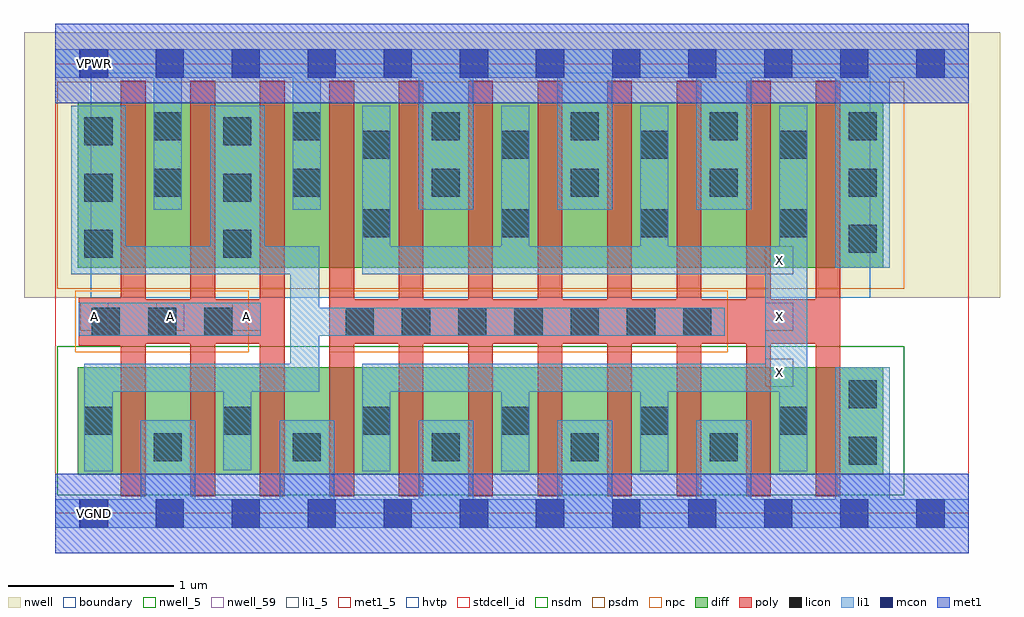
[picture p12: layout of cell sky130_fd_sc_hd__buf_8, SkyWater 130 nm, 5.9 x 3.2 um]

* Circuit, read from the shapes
.subckt sky130_fd_sc_hd__buf_8 A VGND VNB VPB VPWR X
XM1 VGND A n1 VNB sky130_fd_pr__nfet_01v8 w=0.65 l=0.15 m=3
XM2 X n1 VGND VNB sky130_fd_pr__nfet_01v8 w=0.65 l=0.15 m=8
XM3 VPWR A n1 VPB sky130_fd_pr__pfet_01v8_hvt w=1 l=0.15 m=3
XM4 X n1 VPWR VPB sky130_fd_pr__pfet_01v8_hvt w=1 l=0.15 m=8
.ends

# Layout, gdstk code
import gdstk
lib = gdstk.Library(unit=1e-6, precision=1e-09)
def R(c, l, rs):  # rectangles x0, y0, x1, y1
    for r in rs: c.add(gdstk.rectangle(r[:2], r[2:], *l))
def A(c, l, x, y, w, h, nx, ny, dx, dy):  # array of equal rectangles
    R(c, l, [(x+i*dx, y+j*dy, x+i*dx+w, y+j*dy+h) for i in range(nx) for j in range(ny)])
nwell_5 = (64, 5)
nwell = (64, 20)
nwell_59 = (64, 59)
diff = (65, 20)
poly = (66, 20)
licon = (66, 44)
li1_5 = (67, 5)
li1 = (67, 20)
mcon = (67, 44)
met1_5 = (68, 5)
met1 = (68, 20)
hvtp = (78, 44)
stdcell_id = (81, 4)
nsdm = (93, 44)
psdm = (94, 20)
npc = (95, 20)
boundary = (235, 4)

sky130_fd_sc_hd__buf_8 = lib.new_cell('sky130_fd_sc_hd__buf_8')
R(sky130_fd_sc_hd__buf_8, nwell_5, [(0.15,2.635,0.32,2.805)])
R(sky130_fd_sc_hd__buf_8, nwell, [(-0.19,1.305,5.71,2.91)])
R(sky130_fd_sc_hd__buf_8, nwell_59, [(0.15,-0.085,0.32,0.085)])
R(sky130_fd_sc_hd__buf_8, diff, [(0.135,0.235,5.005,0.885), (0.135,1.485,5.005,2.485)])
A(sky130_fd_sc_hd__buf_8, poly, 0.815, 0.105, 0.15, 0.92, 10, 1, 0.42, 0)
A(sky130_fd_sc_hd__buf_8, poly, 0.815, 1.295, 0.15, 1.32, 10, 1, 0.42, 0)
R(sky130_fd_sc_hd__buf_8, poly, [(0.395,0.105,0.545,1.015), (0.14,1.015,0.545,1.025), (0.14,1.025,1.385,1.295), (1.655,1.025,4.745,1.295), (0.14,1.295,0.545,1.305), (0.395,1.305,0.545,2.615)])
A(sky130_fd_sc_hd__buf_8, licon, 0.595, 0.315, 0.17, 0.17, 5, 1, 0.84, 0)
A(sky130_fd_sc_hd__buf_8, licon, 0.175, 0.475, 0.17, 0.17, 6, 1, 0.84, 0)
A(sky130_fd_sc_hd__buf_8, licon, 0.22, 1.075, 0.17, 0.17, 3, 1, 0.34, 0)
A(sky130_fd_sc_hd__buf_8, licon, 1.755, 1.075, 0.17, 0.17, 7, 1, 0.34, 0)
A(sky130_fd_sc_hd__buf_8, licon, 0.175, 1.545, 0.17, 0.17, 1, 3, 0, 0.34)
A(sky130_fd_sc_hd__buf_8, licon, 1.015, 1.545, 0.17, 0.17, 1, 3, 0, 0.34)
A(sky130_fd_sc_hd__buf_8, licon, 1.855, 1.67, 0.17, 0.17, 4, 2, 0.84, 0.475)
A(sky130_fd_sc_hd__buf_8, licon, 0.595, 1.915, 0.17, 0.17, 6, 2, 0.84, 0.34)
R(sky130_fd_sc_hd__buf_8, licon, [(4.795,0.295,4.965,0.465), (4.795,0.635,4.965,0.805), (4.795,1.575,4.965,1.745)])
A(sky130_fd_sc_hd__buf_8, li1_5, 4.29, 0.765, 0.17, 0.17, 1, 3, 0, 0.34)
A(sky130_fd_sc_hd__buf_8, li1_5, 0.15, 1.105, 0.17, 0.17, 3, 1, 0.46, 0)
R(sky130_fd_sc_hd__buf_8, li1_5, [(0.15,-0.085,0.32,0.085), (0.15,2.635,0.32,2.805)])
A(sky130_fd_sc_hd__buf_8, li1, 0.515, 0.085, 0.33, 0.48, 5, 1, 0.84, 0)
A(sky130_fd_sc_hd__buf_8, li1, 1.855, 0.255, 0.17, 0.48, 4, 1, 0.84, 0)
A(sky130_fd_sc_hd__buf_8, li1, 1.855, 1.615, 0.17, 0.85, 4, 1, 0.84, 0)
A(sky130_fd_sc_hd__buf_8, li1, 2.195, 1.835, 0.33, 0.8, 3, 1, 0.84, 0)
R(sky130_fd_sc_hd__buf_8, li1, [(0,-0.085,5.52,0.085), (4.715,0.085,5.045,0.885), (0.175,0.255,0.345,0.735), (1.015,0.26,1.185,0.735), (0.175,0.735,1.595,0.905), (1.855,0.735,4.545,0.905), (1.42,0.905,1.595,1.075), (4.29,0.905,4.545,1.445), (0.14,1.075,1.24,1.275), (1.42,1.075,4.045,1.245), (1.42,1.245,1.595,1.445), (0.095,1.445,1.595,1.615), (1.855,1.445,4.545,1.615), (4.715,1.485,5.045,2.635), (0.095,1.615,0.425,2.465), (0.935,1.615,1.265,2.465), (0.595,1.835,0.765,2.635), (1.435,1.835,1.605,2.635), (0,2.635,5.52,2.805)])
A(sky130_fd_sc_hd__buf_8, mcon, 0.145, -0.085, 0.17, 0.17, 12, 2, 0.46, 2.72)
R(sky130_fd_sc_hd__buf_8, met1_5, [(0.15,-0.085,0.32,0.085), (0.15,2.635,0.32,2.805)])
R(sky130_fd_sc_hd__buf_8, met1, [(0,-0.24,5.52,0.24), (0,2.48,5.52,2.96)])
R(sky130_fd_sc_hd__buf_8, hvtp, [(0.215,1.305,4.925,2.665)])
R(sky130_fd_sc_hd__buf_8, stdcell_id, [(0,0,5.52,2.72)])
R(sky130_fd_sc_hd__buf_8, nsdm, [(0.01,0.11,5.13,1.01)])
R(sky130_fd_sc_hd__buf_8, psdm, [(0.01,1.36,5.13,2.61)])
R(sky130_fd_sc_hd__buf_8, npc, [(0.12,0.975,1.17,1.345), (1.655,0.975,4.065,1.345)])
R(sky130_fd_sc_hd__buf_8, boundary, [(0,0,5.52,2.72)])
sky130_fd_sc_hd__buf_8.add(gdstk.Label('A', (1.155,1.19), layer=67, texttype=5))
sky130_fd_sc_hd__buf_8.add(gdstk.Label('X', (4.375,0.85), layer=67, texttype=5))
sky130_fd_sc_hd__buf_8.add(gdstk.Label('X', (4.375,1.19), layer=67, texttype=5))
sky130_fd_sc_hd__buf_8.add(gdstk.Label('A', (0.695,1.19), layer=67, texttype=5))
sky130_fd_sc_hd__buf_8.add(gdstk.Label('VGND', (0.235,0), layer=67, texttype=5))
sky130_fd_sc_hd__buf_8.add(gdstk.Label('VPWR', (0.235,2.72), layer=67, texttype=5))
sky130_fd_sc_hd__buf_8.add(gdstk.Label('X', (4.375,1.53), layer=67, texttype=5))
sky130_fd_sc_hd__buf_8.add(gdstk.Label('A', (0.235,1.19), layer=67, texttype=5))
sky130_fd_sc_hd__buf_8.add(gdstk.Label('VPB', (0.235,2.72), layer=64, texttype=5))
sky130_fd_sc_hd__buf_8.add(gdstk.Label('VNB', (0.235,0), layer=64, texttype=59))
sky130_fd_sc_hd__buf_8.add(gdstk.Label('VGND', (0.235,0), layer=68, texttype=5))
sky130_fd_sc_hd__buf_8.add(gdstk.Label('VPWR', (0.235,2.72), layer=68, texttype=5))

lib.write_gds('sky130_fd_sc_hd__buf_8.gds')
